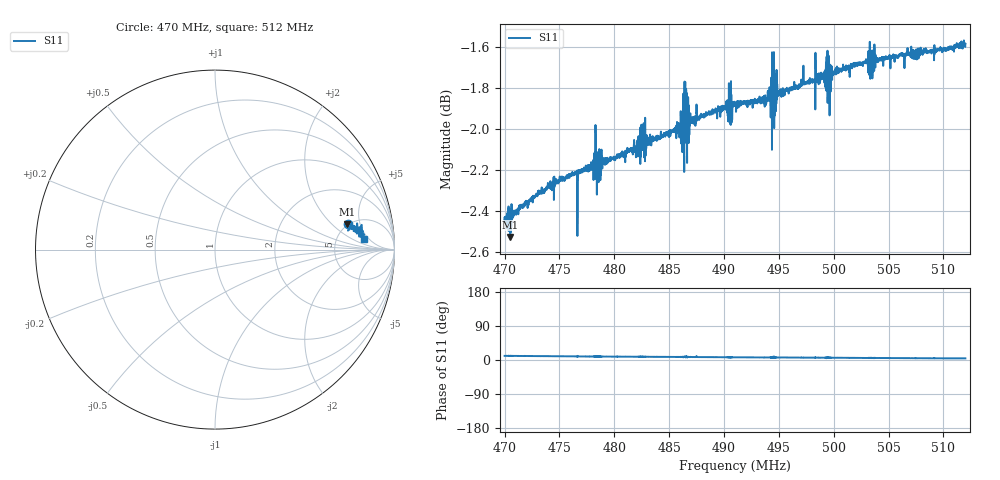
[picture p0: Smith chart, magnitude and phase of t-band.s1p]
! Calibrated averaged scanner-service zoom
# Hz S RI R 50
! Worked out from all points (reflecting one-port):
!   4001 points, 470 MHz to 512 MHz, reference 50 ohm
!   lowest |S11| = -2.5 dB at 470.5 MHz (marker M1), VSWR 6.93, Z = 242 + j156 ohm
!   phase of S11 starts at 11 deg and turns -7 deg over the sweep
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4.7e8  0.741 0.1424
4.705145e8  0.7341 0.1423
4.7525e8  0.762 0.1317
4.78484e8  0.7709 0.1267
4.805e8  0.7739 0.1203
4.82159e8  0.7753 0.1174
4.825265e8  0.7766 0.1181
4.82894e8  0.7783 0.1169
4.8575e8  0.7882 0.1111
4.86149e8  0.7854 0.1121
4.863905e8  0.785 0.1238
4.86611e8  0.8033 0.107
4.86821e8  0.7911 0.1116
4.873985e8  0.7892 0.1085
4.87766e8  0.7921 0.107
4.90349e8  0.7934 0.1061
4.91e8  0.7993 0.1
4.937405e8  0.8012 0.0952
4.941605e8  0.8032 0.0936
4.94591e8  0.806 0.092
4.9478e8  0.8034 0.0915
4.9625e8  0.8075 0.0918
4.992215e8  0.809 0.0822
4.99652e8  0.8112 0.0746
5.001875e8  0.8149 0.0846
5.015e8  0.8188 0.0817
5.0675e8  0.8259 0.0703
5.12e8  0.8309 0.0616
